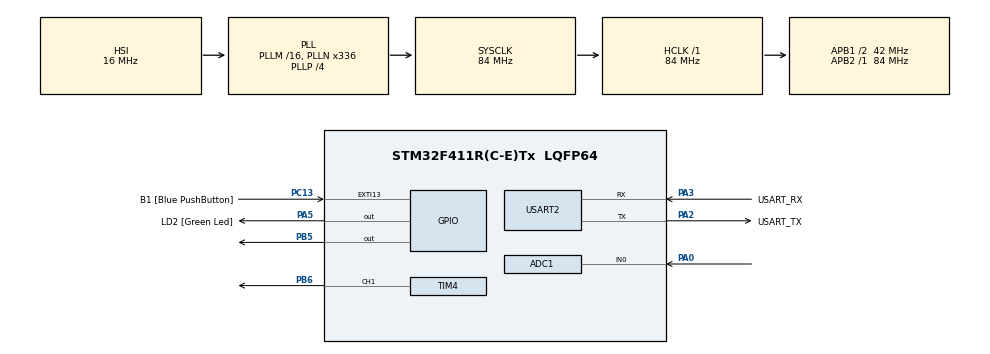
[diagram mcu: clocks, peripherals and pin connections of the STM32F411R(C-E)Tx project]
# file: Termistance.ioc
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ADC1.Channel-0\#ChannelRegularConversion=ADC_CHANNEL_0
ADC1.NbrOfConversionFlag=1
ADC1.Rank-0\#ChannelRegularConversion=1
ADC1.SamplingTime-0\#ChannelRegularConversion=ADC_SAMPLETIME_3CYCLES
ADC1.master=1
Mcu.Family=STM32F4
Mcu.Name=STM32F411R(C-E)Tx
Mcu.Package=LQFP64
NVIC.ADC_IRQn=true\:0\:0\:false\:false\:true\:true\:true\:true
NVIC.PriorityGroup=NVIC_PRIORITYGROUP_0
NVIC.TIM3_IRQn=true\:0\:0\:false\:false\:true\:true\:true\:true
NVIC.TIM4_IRQn=true\:0\:0\:false\:false\:true\:true\:true\:true
NVIC.USART2_IRQn=true\:0\:0\:false\:false\:true\:true\:true\:true
PA0-WKUP.Signal=ADCx_IN0
PA13.GPIO_Label=TMS
PA13.Mode=Serial_Wire
PA13.Signal=SYS_JTMS-SWDIO
PA14.GPIO_Label=TCK
PA14.Mode=Serial_Wire
PA14.Signal=SYS_JTCK-SWCLK
PA2.GPIO_Label=USART_TX
PA2.Mode=Asynchronous
PA2.Signal=USART2_TX
PA3.GPIO_Label=USART_RX
PA3.Mode=Asynchronous
PA3.Signal=USART2_RX
PA5.GPIO_Label=LD2 [Green Led]
PA5.Signal=GPIO_Output
PB3.GPIO_Label=SWO
PB3.Signal=SYS_JTDO-SWO
PB5.Signal=GPIO_Output
PB6.Signal=S_TIM4_CH1
PC13-ANTI_TAMP.GPIO_Label=B1 [Blue PushButton]
PC13-ANTI_TAMP.GPIO_ModeDefaultEXTI=GPIO_MODE_IT_FALLING
PC13-ANTI_TAMP.Signal=GPXTI13
PC14-OSC32_IN.Signal=RCC_OSC32_IN
PC15-OSC32_OUT.Signal=RCC_OSC32_OUT
PH0\ -\ OSC_IN.Mode=HSE-External-Oscillator
PH0\ -\ OSC_IN.Signal=RCC_OSC_IN
PH1\ -\ OSC_OUT.Mode=HSE-External-Oscillator
PH1\ -\ OSC_OUT.Signal=RCC_OSC_OUT
ProjectManager.HeapSize=0x200
ProjectManager.StackSize=0x400
ProjectManager.TargetToolchain=STM32CubeIDE
RCC.48MHZClocksFreq_Value=84000000
RCC.AHBFreq_Value=84000000
RCC.APB1CLKDivider=RCC_HCLK_DIV2
RCC.APB1Freq_Value=42000000
RCC.APB1TimFreq_Value=84000000
RCC.APB2Freq_Value=84000000
RCC.APB2TimFreq_Value=84000000
RCC.CortexFreq_Value=84000000
RCC.FLatency-AdvancedSettings=FLASH_LATENCY_2
RCC.HCLKFreq_Value=84000000
RCC.HSE_VALUE=8000000
RCC.HSI_VALUE=16000000
RCC.LSE_VALUE=32768
RCC.PLLN=336
RCC.PLLP=RCC_PLLP_DIV4
RCC.SYSCLKFreq_VALUE=84000000
RCC.SYSCLKSource=RCC_SYSCLKSOURCE_PLLCLK
RCC.VCOOutputFreq_Value=336000000
SH.ADCx_IN0.0=ADC1_IN0,IN0
SH.S_TIM4_CH1.0=TIM4_CH1,PWM Generation1 CH1
TIM3.Period=5000
TIM3.Prescaler=8400-1
TIM4.Channel-PWM\ Generation1\ CH1=TIM_CHANNEL_1
TIM4.Period=5000
TIM4.Prescaler=8400-1
TIM4.Pulse-PWM\ Generation1\ CH1=0
USART2.VirtualMode=VM_ASYNC
VP_TIM3_VS_ClockSourceINT.Mode=Internal
VP_TIM4_VS_ClockSourceINT.Mode=Internal
board=NUCLEO-F411RE

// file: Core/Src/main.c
/* USER CODE BEGIN Header */
/**
  ******************************************************************************
  * @file           : main.c
  * @brief          : Main program body
  ******************************************************************************
  * @attention
  *
  * Copyright (c) 2022 STMicroelectronics.
  * All rights reserved.
  *
  * This software is licensed under terms that can be found in the LICENSE file
  * in the root directory of this software component.
  * If no LICENSE file comes with this software, it is provided AS-IS.
  *
  ******************************************************************************
  */
/* USER CODE END Header */
#include "main.h"

/* USER CODE BEGIN Includes */
#include <string.h>
#include <stdio.h>
#include <stdlib.h>
#include <math.h>
/* USER CODE END Includes */

ADC_HandleTypeDef hadc1;

TIM_HandleTypeDef htim3;
TIM_HandleTypeDef htim4;

UART_HandleTypeDef huart2;

/* USER CODE BEGIN PV */

#define tension_in 3.3
#define R25 47
#define ARR 5000
#define CMD_TMP 40

uint8_t hello[] = "Hello World !!!\r\n"; //Data to send
uint16_t analog_value;
float tension, Vm, Rc, Rapport, Temp, Vmoy;
char str[7];
uint8_t tension_unit[] = " V\r\n";
uint8_t degre[] = "C\r\n";
uint8_t new_line[] = ";\r\n";
int duty = 10; // %
float pulse_width;
uint8_t recv_fan[1];
uint8_t recv_temp[2];
int cmd_temp = 40;
int cmd_fan;

// Message from IHM
uint8_t receive_buffer[3];
/* USER CODE END PV */

void SystemClock_Config(void);
static void MX_GPIO_Init(void);
static void MX_USART2_UART_Init(void);
static void MX_ADC1_Init(void);
static void MX_TIM3_Init(void);
static void MX_TIM4_Init(void);

/* USER CODE BEGIN 0 */
TIM_HandleTypeDef htim3;
TIM_HandleTypeDef htim4;
ADC_HandleTypeDef hadc1;

/* USER CODE END 0 */

int main(void)
{

  /* MCU Configuration--------------------------------------------------------*/

  /* Reset of all peripherals, Initializes the Flash interface and the Systick. */
  HAL_Init();

  /* Configure the system clock */
  SystemClock_Config();

  /* Initialize all configured peripherals */
  MX_GPIO_Init();
  MX_USART2_UART_Init();
  MX_ADC1_Init();
  MX_TIM3_Init();
  MX_TIM4_Init();
  /* USER CODE BEGIN 2 */

  HAL_TIM_Base_Start_IT(&htim3);
  HAL_TIM_PWM_Start_IT(&htim4, TIM_CHANNEL_1);
  pulse_width = htim4.Init.Period * duty/100;
  __HAL_TIM_SET_COMPARE(&htim4, TIM_CHANNEL_1, pulse_width);
  HAL_UART_Receive_IT(&huart2, receive_buffer, 3);

  /* USER CODE END 2 */

  /* Infinite loop */
  while (1)
  {

  }
}

void SystemClock_Config(void)
{
  RCC_OscInitTypeDef RCC_OscInitStruct = {0};
  RCC_ClkInitTypeDef RCC_ClkInitStruct = {0};

  /** Configure the main internal regulator output voltage
  */
  __HAL_RCC_PWR_CLK_ENABLE();
  __HAL_PWR_VOLTAGESCALING_CONFIG(PWR_REGULATOR_VOLTAGE_SCALE1);

  /** Initializes the RCC Oscillators according to the specified parameters
  * in the RCC_OscInitTypeDef structure.
  */
  RCC_OscInitStruct.OscillatorType = RCC_OSCILLATORTYPE_HSI;
  RCC_OscInitStruct.HSIState = RCC_HSI_ON;
  RCC_OscInitStruct.HSICalibrationValue = RCC_HSICALIBRATION_DEFAULT;
  RCC_OscInitStruct.PLL.PLLState = RCC_PLL_ON;
  RCC_OscInitStruct.PLL.PLLSource = RCC_PLLSOURCE_HSI;
  RCC_OscInitStruct.PLL.PLLM = 16;
  RCC_OscInitStruct.PLL.PLLN = 336;
  RCC_OscInitStruct.PLL.PLLP = RCC_PLLP_DIV4;
  RCC_OscInitStruct.PLL.PLLQ = 4;
  if (HAL_RCC_OscConfig(&RCC_OscInitStruct) != HAL_OK)
  {
    Error_Handler();
  }

  /** Initializes the CPU, AHB and APB buses clocks
  */
  RCC_ClkInitStruct.ClockType = RCC_CLOCKTYPE_HCLK|RCC_CLOCKTYPE_SYSCLK
                              |RCC_CLOCKTYPE_PCLK1|RCC_CLOCKTYPE_PCLK2;
  RCC_ClkInitStruct.SYSCLKSource = RCC_SYSCLKSOURCE_PLLCLK;
  RCC_ClkInitStruct.AHBCLKDivider = RCC_SYSCLK_DIV1;
  RCC_ClkInitStruct.APB1CLKDivider = RCC_HCLK_DIV2;
  RCC_ClkInitStruct.APB2CLKDivider = RCC_HCLK_DIV1;

  if (HAL_RCC_ClockConfig(&RCC_ClkInitStruct, FLASH_LATENCY_2) != HAL_OK)
  {
    Error_Handler();
  }
}

static void MX_ADC1_Init(void)
{

  ADC_ChannelConfTypeDef sConfig = {0};

  /** Configure the global features of the ADC (Clock, Resolution, Data Alignment and number of conversion)
  */
  hadc1.Instance = ADC1;
  hadc1.Init.ClockPrescaler = ADC_CLOCK_SYNC_PCLK_DIV4;
  hadc1.Init.Resolution = ADC_RESOLUTION_12B;
  hadc1.Init.ScanConvMode = DISABLE;
  hadc1.Init.ContinuousConvMode = DISABLE;
  hadc1.Init.DiscontinuousConvMode = DISABLE;
  hadc1.Init.ExternalTrigConvEdge = ADC_EXTERNALTRIGCONVEDGE_NONE;
  hadc1.Init.ExternalTrigConv = ADC_SOFTWARE_START;
  hadc1.Init.DataAlign = ADC_DATAALIGN_RIGHT;
  hadc1.Init.NbrOfConversion = 1;
  hadc1.Init.DMAContinuousRequests = DISABLE;
  hadc1.Init.EOCSelection = ADC_EOC_SINGLE_CONV;
  if (HAL_ADC_Init(&hadc1) != HAL_OK)
  {
    Error_Handler();
  }

  /** Configure for the selected ADC regular channel its corresponding rank in the sequencer and its sample time.
  */
  sConfig.Channel = ADC_CHANNEL_0;
  sConfig.Rank = 1;
  sConfig.SamplingTime = ADC_SAMPLETIME_3CYCLES;
  if (HAL_ADC_ConfigChannel(&hadc1, &sConfig) != HAL_OK)
  {
    Error_Handler();
  }

}

static void MX_TIM3_Init(void)
{

  TIM_ClockConfigTypeDef sClockSourceConfig = {0};
  TIM_MasterConfigTypeDef sMasterConfig = {0};

  htim3.Instance = TIM3;
  htim3.Init.Prescaler = 8400-1;
  htim3.Init.CounterMode = TIM_COUNTERMODE_UP;
  htim3.Init.Period = 5000;
  htim3.Init.ClockDivision = TIM_CLOCKDIVISION_DIV1;
  htim3.Init.AutoReloadPreload = TIM_AUTORELOAD_PRELOAD_DISABLE;
  if (HAL_TIM_Base_Init(&htim3) != HAL_OK)
  {
    Error_Handler();
  }
  sClockSourceConfig.ClockSource = TIM_CLOCKSOURCE_INTERNAL;
  if (HAL_TIM_ConfigClockSource(&htim3, &sClockSourceConfig) != HAL_OK)
  {
    Error_Handler();
  }
  sMasterConfig.MasterOutputTrigger = TIM_TRGO_RESET;
  sMasterConfig.MasterSlaveMode = TIM_MASTERSLAVEMODE_DISABLE;
  if (HAL_TIMEx_MasterConfigSynchronization(&htim3, &sMasterConfig) != HAL_OK)
  {
    Error_Handler();
  }

}

static void MX_TIM4_Init(void)
{

  TIM_ClockConfigTypeDef sClockSourceConfig = {0};
  TIM_MasterConfigTypeDef sMasterConfig = {0};
  TIM_OC_InitTypeDef sConfigOC = {0};

  htim4.Instance = TIM4;
  htim4.Init.Prescaler = 8400-1;
  htim4.Init.CounterMode = TIM_COUNTERMODE_UP;
  htim4.Init.Period = 5000;
  htim4.Init.ClockDivision = TIM_CLOCKDIVISION_DIV1;
  htim4.Init.AutoReloadPreload = TIM_AUTORELOAD_PRELOAD_DISABLE;
  if (HAL_TIM_Base_Init(&htim4) != HAL_OK)
  {
    Error_Handler();
  }
  sClockSourceConfig.ClockSource = TIM_CLOCKSOURCE_INTERNAL;
  if (HAL_TIM_ConfigClockSource(&htim4, &sClockSourceConfig) != HAL_OK)
  {
    Error_Handler();
  }
  if (HAL_TIM_PWM_Init(&htim4) != HAL_OK)
  {
    Error_Handler();
  }
  sMasterConfig.MasterOutputTrigger = TIM_TRGO_RESET;
  sMasterConfig.MasterSlaveMode = TIM_MASTERSLAVEMODE_DISABLE;
  if (HAL_TIMEx_MasterConfigSynchronization(&htim4, &sMasterConfig) != HAL_OK)
  {
    Error_Handler();
  }
  sConfigOC.OCMode = TIM_OCMODE_PWM1;
  sConfigOC.Pulse = 0;
  sConfigOC.OCPolarity = TIM_OCPOLARITY_HIGH;
  sConfigOC.OCFastMode = TIM_OCFAST_DISABLE;
  if (HAL_TIM_PWM_ConfigChannel(&htim4, &sConfigOC, TIM_CHANNEL_1) != HAL_OK)
  {
    Error_Handler();
  }
  HAL_TIM_MspPostInit(&htim4);

}

static void MX_USART2_UART_Init(void)
{

  huart2.Instance = USART2;
  huart2.Init.BaudRate = 115200;
  huart2.Init.WordLength = UART_WORDLENGTH_8B;
  huart2.Init.StopBits = UART_STOPBITS_1;
  huart2.Init.Parity = UART_PARITY_NONE;
  huart2.Init.Mode = UART_MODE_TX_RX;
  huart2.Init.HwFlowCtl = UART_HWCONTROL_NONE;
  huart2.Init.OverSampling = UART_OVERSAMPLING_16;
  if (HAL_UART_Init(&huart2) != HAL_OK)
  {
    Error_Handler();
  }

}

static void MX_GPIO_Init(void)
{
  GPIO_InitTypeDef GPIO_InitStruct = {0};

  /* GPIO Ports Clock Enable */
  __HAL_RCC_GPIOC_CLK_ENABLE();
  __HAL_RCC_GPIOH_CLK_ENABLE();
  __HAL_RCC_GPIOA_CLK_ENABLE();
  __HAL_RCC_GPIOB_CLK_ENABLE();

  /*Configure GPIO pin Output Level */
  HAL_GPIO_WritePin(LD2_GPIO_Port, LD2_Pin, GPIO_PIN_RESET);

  /*Configure GPIO pin Output Level */
  HAL_GPIO_WritePin(GPIOB, GPIO_PIN_5, GPIO_PIN_RESET);

  /*Configure GPIO pin : B1_Pin */
  GPIO_InitStruct.Pin = B1_Pin;
  GPIO_InitStruct.Mode = GPIO_MODE_IT_FALLING;
  GPIO_InitStruct.Pull = GPIO_NOPULL;
  HAL_GPIO_Init(B1_GPIO_Port, &GPIO_InitStruct);

  /*Configure GPIO pin : LD2_Pin */
  GPIO_InitStruct.Pin = LD2_Pin;
  GPIO_InitStruct.Mode = GPIO_MODE_OUTPUT_PP;
  GPIO_InitStruct.Pull = GPIO_NOPULL;
  GPIO_InitStruct.Speed = GPIO_SPEED_FREQ_LOW;
  HAL_GPIO_Init(LD2_GPIO_Port, &GPIO_InitStruct);

  /*Configure GPIO pin : PB5 */
  GPIO_InitStruct.Pin = GPIO_PIN_5;
  GPIO_InitStruct.Mode = GPIO_MODE_OUTPUT_PP;
  GPIO_InitStruct.Pull = GPIO_NOPULL;
  GPIO_InitStruct.Speed = GPIO_SPEED_FREQ_LOW;
  HAL_GPIO_Init(GPIOB, &GPIO_InitStruct);

}

/* USER CODE BEGIN 4 */

void Correcteur_PI(float Temperature){
	static float E_last = 0.0;
	static float S_last = 0.0;
	static float Te = 0.5;

	static int I = 0;

	float Error = cmd_temp - Temperature;

	int WORK = 0;

	if (WORK)
	{
		Vmoy = (0.5*Error) - (0.498*E_last) + S_last;
		E_last = Error;
		S_last = Vmoy;

		if (Vmoy < 0)
			Vmoy = 0.0;
		if (Vmoy > 20)
			Vmoy = 20.0;
	}
	else
	{
		int KP = 0;
		if (Error > 2 || Error < -2)
			KP = 5;
		else
			KP = 2;
		int KI = 0.3;

		I+=Te*Error;
		Vmoy=KP*Error+KI*I;

		if (Vmoy < 0)
			Vmoy = 0.0;
		if (Vmoy >= 20)
			Vmoy = 20.0;
	}
	//0.5 0.498

	pulse_width = (Vmoy/20.0 * htim4.Init.Period);
	__HAL_TIM_SET_COMPARE(&htim4, TIM_CHANNEL_1, pulse_width);

	sprintf(str, "%f", Vmoy);
	// str is Tension value after correction
	HAL_UART_Transmit(&huart2, (uint8_t *) "V;", 2, 10); // tension identifier
	HAL_UART_Transmit(&huart2, (uint8_t *)str, 7,10);// Sending in normal mode
	HAL_UART_Transmit(&huart2, new_line, 3, 10);
  }

/*
 * PIN B5 for the gpio for testing pwm
 * ADC1 in PIN A0 (use 3.3 V power)
 * TIM 3
 * UART 2 with st-link
 */
void HAL_TIM_PeriodElapsedCallback(TIM_HandleTypeDef *htim)
{
	// Check which version of the timer triggered this callback and toggle LED
	if (htim == &htim3)
	{
	//HAL_GPIO_TogglePin(GPIOB, GPIO_PIN_5);
	HAL_ADC_Start(&hadc1);
	analog_value = HAL_ADC_GetValue(&hadc1);
	tension = analog_value * tension_in/4095;
	//Recuperation de Vm * 2
	Vm = tension;
	//Calcul de Rc
	Rc = (-R25*(Vm-5))/(Vm+5);
	//Calcul de R25/Rc
	Rapport = Rc/R25;
	//Valeur temperature suivant rapport resistance
	Temp = 10.7426+73.4722*exp(-1.79131*Rapport);
	//Envoie dans le PI de la temperature
	Correcteur_PI(Temp);
	/*gcvt(tension, 6, str);
	HAL_UART_Transmit(&huart2, (uint8_t *)str, 7,10);// Sending in normal mode
	HAL_UART_Transmit(&huart2, tension_unit, 4, 10);*/
	sprintf(str, "%f", Temp);
	HAL_UART_Transmit(&huart2, (uint8_t *) "T;", 2, 10); // temperature identifier
	HAL_UART_Transmit(&huart2, (uint8_t *)str, 7,10);// Sending in normal mode
	HAL_UART_Transmit(&huart2, new_line, 3, 10);
	}
}

void HAL_UART_RxCpltCallback(UART_HandleTypeDef *huart)
{
	int flag = 0;
	// msg is to convert the char values from the received message to string so as to adapt to the atoi arguments
	char msg[3] = { receive_buffer[1], receive_buffer[2], '\0'};
	switch(receive_buffer[0]){
	// sending messages in format Fxx/Txx for fan or temperature command
	// correct parsing and variable update

	case 'T':
		flag = 1;
		break;
	case 'F':
		flag = 2;
		break;
	default:
		break;
	}
	if(flag == 1){
		cmd_temp = atoi(msg);
	}
	else if(flag == 2){
		if(atoi(msg) == 1){
			HAL_GPIO_WritePin(GPIOB, GPIO_PIN_5, GPIO_PIN_SET);
		}
		else if(atoi(msg) == 0){
			HAL_GPIO_WritePin(GPIOB, GPIO_PIN_5, GPIO_PIN_RESET);
		}
	}

	HAL_UART_Transmit(&huart2,receive_buffer, sizeof(receive_buffer), 10);
    HAL_UART_Receive_IT(&huart2, receive_buffer, 3);
    //printf("Command received %s", fan);
}

/* USER CODE END 4 */

void Error_Handler(void)
{
  __disable_irq();
  while (1)
  {
  }
}
